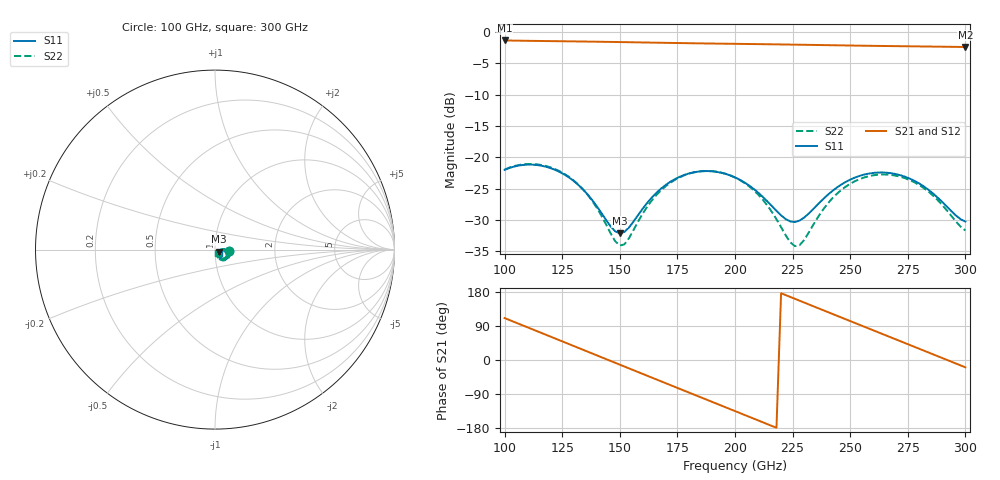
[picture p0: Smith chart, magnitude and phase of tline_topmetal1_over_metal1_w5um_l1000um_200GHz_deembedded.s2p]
! Created with skrf 2.2.0 (http://scikit-rf.org).
# GHz S DB R 50.0
! Port[1] = P1
! Port[2] = P2
!freq dBS11 angS11 dBS21 angS21 dBS12 angS12 dBS22 angS22
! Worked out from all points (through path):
!   101 points, 100 GHz to 300 GHz, reference 50 ohm
!   highest |S21| = -1.37 dB at 100 GHz (marker M1); lowest = -2.4 dB at 300 GHz (marker M2)
!   group delay of S21, straight-line fit = 6.8 ps
!   lowest |S11| = -32.1 dB at 150 GHz (marker M3), VSWR 1.05, Z = 52.2 - j1.26 ohm
!   |S11| at or under -10 dB: start of sweep to end of sweep
!   |S22| runs from -34.2 to -21.1 dB; largest |S21 - S12| = 9.5e-14
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100  -22.00 -4.6  -1.37 110.6  -1.37 110.6  -21.95 -6.6
108  -21.22 -18.7  -1.41 91.0  -1.41 91.0  -21.12 -21.5
116  -21.34 -32.9  -1.46 71.4  -1.46 71.4  -21.23 -36.7
124  -22.35 -46.2  -1.49 51.7  -1.49 51.7  -22.24 -51.2
134  -25.11 -58.8  -1.54 27.1  -1.54 27.1  -25.10 -66.2
142  -28.87 -58.2  -1.58 7.4  -1.58 7.4  -29.30 -68.9
150  -32.13 -29.3  -1.63 -12.3  -1.63 -12.3  -34.08 -36.5
158  -29.18 0.4  -1.68 -32.0  -1.68 -32.0  -30.20 2.4
168  -24.96 -0.1  -1.74 -56.5  -1.74 -56.5  -25.23 -0.1
176  -23.10 -10.0  -1.79 -76.1  -1.79 -76.1  -23.19 -11.8
184  -22.28 -22.2  -1.83 -95.7  -1.83 -95.7  -22.28 -25.7
200  -23.20 -46.4  -1.91 -134.8  -1.91 -134.8  -23.21 -53.9
214  -27.01 -56.1  -1.97 -169.1  -1.97 -169.1  -27.66 -70.7
226  -30.32 -30.4  -2.04 161.5  -2.04 161.5  -34.17 -39.2
234  -28.23 -10.2  -2.08 141.9  -2.08 141.9  -30.74 -2.3
242  -25.44 -8.4  -2.13 122.3  -2.13 122.3  -26.63 -1.1
252  -23.24 -18.2  -2.19 97.9  -2.19 97.9  -23.82 -13.6
260  -22.49 -29.3  -2.23 78.4  -2.23 78.4  -22.87 -26.5
268  -22.55 -41.1  -2.27 58.8  -2.27 58.8  -22.82 -39.8
284  -25.19 -59.7  -2.34 19.8  -2.34 19.8  -25.48 -61.9
292  -27.88 -59.5  -2.37 0.2  -2.37 0.2  -28.48 -63.7
300  -30.25 -41.9  -2.41 -19.3  -2.41 -19.3  -31.66 -44.8
